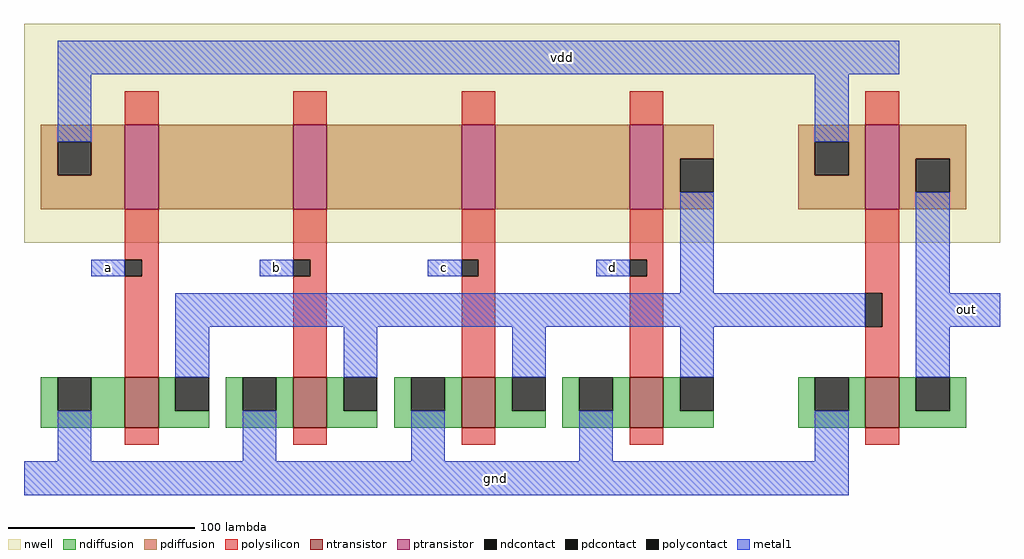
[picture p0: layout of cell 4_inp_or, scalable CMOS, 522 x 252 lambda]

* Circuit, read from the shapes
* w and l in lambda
.subckt 4_inp_or a b c d gnd out vdd
M1 n1 a gnd VSUBS nfet w=27 l=18
M2 n1 b gnd VSUBS nfet w=27 l=18
M3 n1 c gnd VSUBS nfet w=27 l=18
M4 n1 d gnd VSUBS nfet w=27 l=18
M5 out n1 gnd VSUBS nfet w=27 l=18
M6 n2 a vdd n3 pfet w=45 l=18
M7 n4 b n2 n3 pfet w=45 l=18
M8 n5 c n4 n3 pfet w=45 l=18
M9 n1 d n5 n3 pfet w=45 l=18
M10 out n1 vdd n3 pfet w=45 l=18
.ends

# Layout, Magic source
magic
tech scmos
magscale 9 1
<< nwell >>
rect -17 1 41 14
<< ntransistor >>
rect -11 -10 -9 -7
rect -1 -10 1 -7
rect 9 -10 11 -7
rect 19 -10 21 -7
rect 33 -10 35 -7
<< ptransistor >>
rect -11 3 -9 8
rect -1 3 1 8
rect 9 3 11 8
rect 19 3 21 8
rect 33 3 35 8
<< ndiffusion >>
rect -16 -9 -15 -7
rect -13 -9 -11 -7
rect -16 -10 -11 -9
rect -9 -9 -8 -7
rect -9 -10 -6 -9
rect -5 -9 -4 -7
rect -2 -9 -1 -7
rect -5 -10 -1 -9
rect 1 -9 2 -7
rect 1 -10 4 -9
rect 5 -9 6 -7
rect 8 -9 9 -7
rect 5 -10 9 -9
rect 11 -9 12 -7
rect 11 -10 14 -9
rect 15 -9 16 -7
rect 18 -9 19 -7
rect 15 -10 19 -9
rect 21 -9 22 -7
rect 21 -10 24 -9
rect 29 -9 30 -7
rect 32 -9 33 -7
rect 29 -10 33 -9
rect 35 -9 36 -7
rect 38 -9 39 -7
rect 35 -10 39 -9
<< pdiffusion >>
rect -16 7 -11 8
rect -16 5 -15 7
rect -13 5 -11 7
rect -16 3 -11 5
rect -9 3 -1 8
rect 1 3 9 8
rect 11 3 19 8
rect 21 6 24 8
rect 21 4 22 6
rect 21 3 24 4
rect 29 7 33 8
rect 29 5 30 7
rect 32 5 33 7
rect 29 3 33 5
rect 35 6 39 8
rect 35 4 36 6
rect 38 4 39 6
rect 35 3 39 4
<< ndcontact >>
rect -15 -9 -13 -7
rect -8 -9 -6 -7
rect -4 -9 -2 -7
rect 2 -9 4 -7
rect 6 -9 8 -7
rect 12 -9 14 -7
rect 16 -9 18 -7
rect 22 -9 24 -7
rect 30 -9 32 -7
rect 36 -9 38 -7
<< pdcontact >>
rect -15 5 -13 7
rect 22 4 24 6
rect 30 5 32 7
rect 36 4 38 6
<< polysilicon >>
rect -11 8 -9 10
rect -1 8 1 10
rect 9 8 11 10
rect 19 8 21 10
rect 33 8 35 10
rect -11 0 -9 3
rect -10 -1 -9 0
rect -11 -7 -9 -1
rect -1 0 1 3
rect 0 -1 1 0
rect -1 -7 1 -1
rect 9 0 11 3
rect 10 -1 11 0
rect 9 -7 11 -1
rect 19 0 21 3
rect 20 -1 21 0
rect 19 -7 21 -1
rect 33 -2 35 3
rect 34 -4 35 -2
rect 33 -7 35 -4
rect -11 -11 -9 -10
rect -1 -11 1 -10
rect 9 -11 11 -10
rect 19 -11 21 -10
rect 33 -11 35 -10
<< polycontact >>
rect -11 -1 -10 0
rect -1 -1 0 0
rect 9 -1 10 0
rect 19 -1 20 0
rect 33 -4 34 -2
<< metal1 >>
rect -15 11 35 13
rect -15 7 -13 11
rect 30 7 32 11
rect -13 -1 -11 0
rect -3 -1 -1 0
rect 7 -1 9 0
rect 17 -1 19 0
rect 22 -2 24 4
rect 36 -2 38 4
rect -8 -4 33 -2
rect 36 -4 41 -2
rect -8 -7 -6 -4
rect 2 -7 4 -4
rect 12 -7 14 -4
rect 22 -7 24 -4
rect 36 -7 38 -4
rect -15 -12 -13 -9
rect -4 -12 -2 -9
rect 6 -12 8 -9
rect 16 -12 18 -9
rect 30 -12 32 -9
rect -17 -14 32 -12
<< labels >>
rlabel metal1 15 12 15 12 5 vdd
rlabel metal1 11 -13 11 -13 1 gnd
rlabel metal1 -13 -1 -11 0 3 a
rlabel metal1 -3 -1 -1 0 1 b
rlabel metal1 7 -1 9 0 1 c
rlabel metal1 17 -1 19 0 1 d
rlabel metal1 39 -3 39 -3 7 out
rlabel metal1 38 -4 40 -2 7 out
<< end >>
